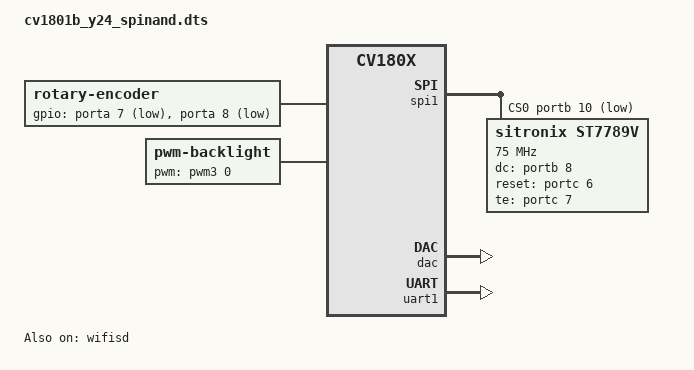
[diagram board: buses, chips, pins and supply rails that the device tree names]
/dts-v1/;
#include "cv180x_base_riscv.dtsi"
#include "cv180x_asic_qfn.dtsi"
#include "cv180x_asic_spinand.dtsi"
#include "cv180x_default_memmap.dtsi"
// #include <dt-bindings/input/input.h>

/ {
	rotary:ratary-encoder {
		compatible = "rotary-encoder";
		linux,axis = <0>; /* REL_X */
		rotary-encoder,relative-axis;
		rotary-encoder,steps-per-period = <2>;
		gpios = <&porta 7 GPIO_ACTIVE_LOW>, <&porta 8 GPIO_ACTIVE_LOW>;
	};

	wifisd:wifi-sd@4320000 {
		compatible = "cvitek,cv180x-sdio";
		bus-width = <4>;
		reg = <0x0 0x4320000 0x0 0x1000>;
		reg_names = "core_mem";
		src-frequency = <375000000>;
		min-frequency = <400000>;
		max-frequency = <50000000>;
		64_addressing;
		reset_tx_rx_phy;
		non-removable;
		pll_index = <0x7>;
		pll_reg = <0x300207C>;
		clocks = <&clk CV180X_CLK_SD1>;
		clock-names = "clk_wifisd";
		interrupts = <38 IRQ_TYPE_LEVEL_HIGH>;
		interrupt-parent = <&plic0>;
		no-mmc;
		no-sd;
		status = "disabled";
	};

	// gpio-keys {
	// 	compatible = "gpio-keys";

	// 	key-play {
	// 		label = "play";
	// 		gpios = <&porta 11 GPIO_ACTIVE_LOW>;
	// 		linux,code = <KEY_PLAY>;
	// 		debounce-interval = <5>;
	// 	};

	// 	key-back {
	// 		label = "back";
	// 		gpios = <&portc 10 GPIO_ACTIVE_LOW>;
	// 		linux,code = <KEY_BACK>;
	// 		debounce-interval = <5>;
	// 	};

	// 	key-menu {
	// 		label = "menu";
	// 		gpios = <&portc 9 GPIO_ACTIVE_LOW>;
	// 		linux,code = <KEY_MENU>;
	// 		debounce-interval = <5>;
	// 	};
	// };

	backlight: backlight {
		compatible = "pwm-backlight";
		pwms = <&pwm3 0 100000 0>;
		brightness-levels = <
		0   1   2   3   4   5   6   7
		8   9  10   11  12  13  14  15
		16  17  18  19  20  21  22  23
		24  25  26  27  28  29  30  31
		32  33  34  35  36  37  38  39
		40  41  42  43  44  45  46  47
		48  49  50  51  52  53  54  55
		56  57  58  59  60  61  62  63
		64  65  66  67  68  69  70  71
		72  73  74  75  76  77  78  79
		80  81  82  83  84  85  86  87
		88  89  90  91  92  93  94  95
		96  97  98  99  100 101 102 103
		104 105 106 107 108 109 110 111
		112 113 114 115 116 117 118 119
		120 121 122 123 124 125 126 127
		128 129 130 131 132 133 134 135
		136 137 138 139 140 141 142 143
		144 145 146 147 148 149 150 151
		152 153 154 155 156 157 158 159
		160 161 162 163 164 165 166 167
		168 169 170 171 172 173 174 175
		176 177 178 179 180 181 182 183
		184 185 186 187 188 189 190 191
		192 193 194 195 196 197 198 199
		200 201 202 203 204 205 206 207
		208 209 210 211 212 213 214 215
		216 217 218 219 220 221 222 223
		224 225 226 227 228 229 230 231
		232 233 234 235 236 237 238 239
		240 241 242 243 244 245 246 247
		248 249 250 251 252 253 254 255>;
		default-brightness-level = <200>;
		post-pwm-on-delay-ms = <10>;
	};

	/delete-node/ i2s@04110000; // dma 冲突
	/delete-node/ cv-sd@4310000;
	/delete-node/ ethernet@4070000;
	/delete-node/ spi0@04180000;
	/delete-node/ spi2@041A0000;
	/delete-node/ spi3@041B0000;
	/delete-node/ i2c@04000000;
	/delete-node/ i2c@04010000;
	/delete-node/ i2c@04020000;
	/delete-node/ i2c@04030000;
	/delete-node/ i2c@04040000;
	/delete-node/ serial@04160000;
	/delete-node/ serial@04170000;
	/delete-node/ serial@041C0000;
	/delete-node/ cif;
	/delete-node/ vi;
	/delete-node/ vpss;
	/delete-node/ dwa;
	/delete-node/ rgn;
	/delete-node/ vcodec;
	/delete-node/ jpu;
	/delete-node/ cvi_vc_drv;

	aliases {
		/delete-property/ ethernet0;
		/delete-property/ serial2;
		/delete-property/ serial3;
		/delete-property/ serial4;
		/delete-property/ i2c0;
		/delete-property/ i2c1;
		/delete-property/ i2c2;
		/delete-property/ i2c3;
		/delete-property/ i2c4;
	};
};

&spi1 {
	status = "okay";
	dmas = <&dmac 2 1 1
		&dmac 3 1 1>;
	dma-names = "rx", "tx";
	capability = "txrx";
	cs-gpios = <&portb 10 GPIO_ACTIVE_LOW>;

	st7789v@0 {
		compatible = "sitronix,st7789v"; // 屏幕驱动名称：下面 step4 中设置
		spi-max-frequency = <75000000>;   // SPI 的速率，影响帧率，注意 SPI 的上限和屏幕支持的上限
		txbuflen = <153600>; // 发送 buffer 大小
		reg = <0>; // chip select 0
		buswidth = <8>;
		fps=<60>;
		dc-gpios = <&portb 8 GPIO_ACTIVE_HIGH>;
		reset-gpios = <&portc 6 GPIO_ACTIVE_HIGH>; // step2 确定 high/low
		te-gpios = <&portc 7 GPIO_ACTIVE_HIGH>;
		// rotation = <0>;
		status = "okay";
		debug = <0x0>; // 0x20 show fps
	};
};

&{/sysdma_remap} {
	ch-remap = <CVI_I2S0_RX CVI_I2S2_TX CVI_SPI1_RX CVI_SPI1_TX
			CVI_SPI_NAND CVI_SPI_NAND CVI_I2S2_RX CVI_I2S3_TX>;
};

&dac{
	status = "okay";
	mute-gpio-r = <&porta 15 GPIO_ACTIVE_HIGH>;
};

&{/wifi-sd@4320000} {
	status = "okay";
};

&{/wifi_pin} {
	poweron-gpio = <&porte 25 GPIO_ACTIVE_HIGH>;
	wakeup-gpio = <&porte 26 GPIO_ACTIVE_HIGH>;
};

&uart1{
	status = "okay";
};
